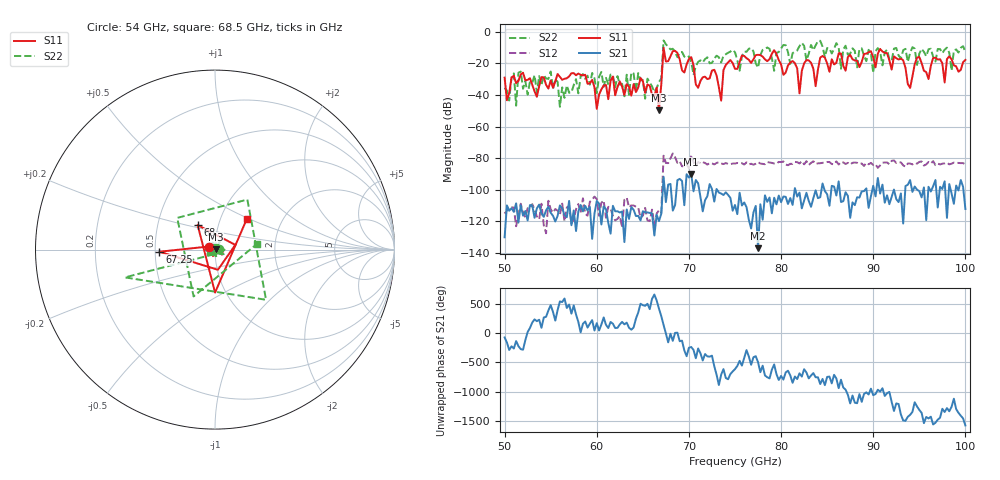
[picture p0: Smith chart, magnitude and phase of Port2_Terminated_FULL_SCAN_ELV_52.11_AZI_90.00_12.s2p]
! 11/25/2026 1:44:17 PM
! C:\ANRITSUVNA\TEMP\TEMP.S2P
! CHANNEL.1
! TR.MEASUREMENT
! RAW.DATA
# HZ S RI R 50.0
! FREQ.HZ  S11RE  S11IM  S21RE  S21IM  S12RE  S12IM  S22RE  S22IM
!; PortSelection: Port_12
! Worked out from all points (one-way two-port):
!   201 points, 50 GHz to 100 GHz, reference 50 ohm
!   highest |S21| = -90.07 dB at 70.25 GHz (marker M1); lowest = -137.0 dB at 77.5 GHz (marker M2)
!   lowest |S11| = -49.7 dB at 66.75 GHz (marker M3), VSWR 1.01, Z = 50.3 + j0.0704 ohm
!   |S11| at or under -10 dB: start of sweep to end of sweep
!   |S22| runs from -47.5 to -5.6 dB; largest |S21 - S12| = 0.00014
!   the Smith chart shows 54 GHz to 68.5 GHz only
!   S11 on the Smith chart (normalised r, x): 54 GHz: 0.93, +0.03; 67.25 GHz: 0.53, -0.01; 68 GHz: 0.80, +0.22; 68.5 GHz: 1.33, +0.49
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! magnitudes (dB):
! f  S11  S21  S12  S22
! 50 GHz  -29.1  -130.0  -115.0  -35.6
! 54 GHz  -28.7  -114.9  -108.8  -33.8
! 56 GHz  -28.6  -109.9  -115.6  -47.5
! 58.5 GHz  -27.7  -113.6  -105.3  -26.9
! 60 GHz  -48.8  -107.1  -105.8  -38.9
! 61.75 GHz  -28.4  -110.1  -116.4  -27.6
! 66.75 GHz  -49.7  -119.7  -112.9  -31.9
! 67.25 GHz  -10.2  -91.8  -78.4  -5.6
! 68 GHz  -15.5  -96.3  -80.1  -11.2
! 68.5 GHz  -12.1  -109.6  -79.4  -12.6
! 70.25 GHz  -16.1  -90.1  -77.9  -19.2
! 73.5 GHz  -43.6  -102.3  -83.4  -19.5
! 73.75 GHz  -24.3  -103.3  -83.7  -15.3
! 75 GHz  -23.5  -109.6  -83.4  -13.0
! 77.5 GHz  -14.7  -137.0  -82.5  -22.8
! 81.25 GHz  -18.6  -109.5  -83.6  -13.6
! 82 GHz  -39.0  -101.8  -83.3  -9.2
! 83.5 GHz  -23.4  -105.3  -81.9  -11.7
! 91.75 GHz  -18.2  -109.1  -83.8  -17.5
! 94 GHz  -35.6  -93.8  -83.4  -13.6
! 94.75 GHz  -16.5  -99.9  -83.4  -21.1
! 100 GHz  -17.9  -112.1  -84.0  -12.8
